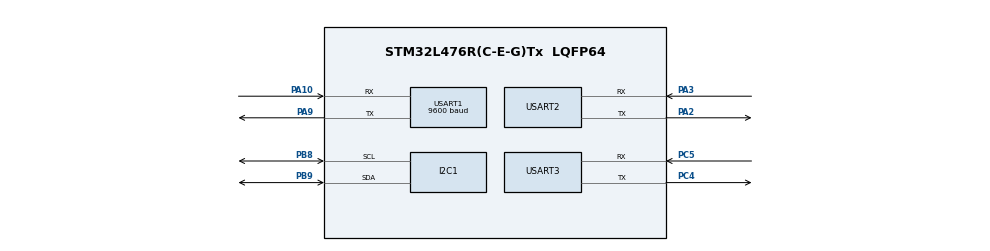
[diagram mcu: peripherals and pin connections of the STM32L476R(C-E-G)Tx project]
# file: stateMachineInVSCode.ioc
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FREERTOS.Mutexes01=uartMutex,Dynamic,NULL,Available
FREERTOS.Queues01=eventQueue,16,Event_t,0,Dynamic,NULL,NULL;transmitQueue,4,Telemetry_t*,0,Dynamic,NULL,NULL
FREERTOS.Tasks01=mainTask,24,128,StartMainTask,Default,NULL,Dynamic,NULL,NULL;housekeepTask,8,128,StartHousekeepTask,Default,NULL,Dynamic,NULL,NULL;transmitTask,8,128,StartTransmitTask,Default,NULL,Dynamic,NULL,NULL;receiveTask,8,128,StartReceiveTask,Default,NULL,Dynamic,NULL,NULL;deployTask,8,128,StartDeployTask,Default,NULL,Dynamic,NULL,NULL;detumblingTask,8,128,StartDetumblingTask,Default,NULL,Dynamic,NULL,NULL;missionTask,8,128,StartMissionTask,Default,NULL,Dynamic,NULL,NULL
FREERTOS.Timers01=HkTickTimer,vHkTickCallback,osTimerPeriodic,Default,NULL,Dynamic,NULL
FREERTOS.configTOTAL_HEAP_SIZE=8192
FREERTOS.configUSE_NEWLIB_REENTRANT=1
I2C1.Timing=0x00100D14
Mcu.Family=STM32L4
Mcu.Name=STM32L476R(C-E-G)Tx
Mcu.Package=LQFP64
NVIC.PriorityGroup=NVIC_PRIORITYGROUP_4
NVIC.TIM6_DAC_IRQn=true\:15\:0\:false\:false\:true\:false\:false\:true\:true
NVIC.TimeBase=TIM6_DAC_IRQn
NVIC.TimeBaseIP=TIM6
NVIC.USART1_IRQn=true\:5\:0\:false\:false\:true\:true\:true\:true\:true
PA10.Mode=Asynchronous
PA10.Signal=USART1_RX
PA13\ (JTMS-SWDIO).Mode=Serial_Wire
PA13\ (JTMS-SWDIO).Signal=SYS_JTMS-SWDIO
PA14\ (JTCK-SWCLK).Mode=Serial_Wire
PA14\ (JTCK-SWCLK).Signal=SYS_JTCK-SWCLK
PA2.Mode=Asynchronous
PA2.Signal=USART2_TX
PA3.Mode=Asynchronous
PA3.Signal=USART2_RX
PA9.Mode=Asynchronous
PA9.Signal=USART1_TX
PB8.Mode=I2C
PB8.Signal=I2C1_SCL
PB9.Mode=I2C
PB9.Signal=I2C1_SDA
PC4.Mode=Asynchronous
PC4.Signal=USART3_TX
PC5.Mode=Asynchronous
PC5.Signal=USART3_RX
ProjectManager.HeapSize=0x200
ProjectManager.StackSize=0x400
ProjectManager.TargetToolchain=CMake
RCC.HSE_VALUE=8000000
RCC.HSI_VALUE=16000000
RCC.LSE_VALUE=32768
RCC.MSI_VALUE=4000000
RCC.VCOOutputFreq_Value=32000000
USART1.BaudRate=9600
USART1.VirtualMode-Asynchronous=VM_ASYNC
USART2.VirtualMode-Asynchronous=VM_ASYNC
USART3.VirtualMode-Asynchronous=VM_ASYNC
VP_FREERTOS_VS_CMSIS_V2.Mode=CMSIS_V2
VP_SYS_VS_tim6.Mode=TIM6
board=custom

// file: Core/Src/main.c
/* USER CODE BEGIN Header */
/**
  ******************************************************************************
  * @file           : main.c
  * @brief          : Main program body
  ******************************************************************************
  * @attention
  *
  * Copyright (c) 2026 STMicroelectronics.
  * All rights reserved.
  *
  * This software is licensed under terms that can be found in the LICENSE file
  * in the root directory of this software component.
  * If no LICENSE file comes with this software, it is provided AS-IS.
  *
  ******************************************************************************
  */
/* USER CODE END Header */
#include "main.h"
#include "cmsis_os.h"

/* USER CODE BEGIN Includes */
#include <stdio.h>
#include <stdarg.h>
#include <stdbool.h>
#include "customTypes.h"
#include "BME280.h"
#include "DS3231.h"
#include "FreeRTOSConfig.h"

/* USER CODE END Includes */

/* USER CODE BEGIN PD */
#define USART1_RX_FLAG       (1U << 0)
#define USART1_ERROR_FLAG    (1U << 1)
#define TASK_START_FLAG      (1U << 0)
#define TASK_STOP_FLAG       (1U << 1)

#define TC_ON_USART2         0
#define ENABLE_DEBUG_UART2   1
/* USER CODE END PD */

I2C_HandleTypeDef hi2c1;

UART_HandleTypeDef huart1;
UART_HandleTypeDef huart2;
UART_HandleTypeDef huart3;

/* Definitions for mainTask */
osThreadId_t mainTaskHandle;
const osThreadAttr_t mainTask_attributes = {
  .name = "mainTask",
  .stack_size = 128 * 4,
  .priority = (osPriority_t) osPriorityNormal,
};
/* Definitions for housekeepTask */
osThreadId_t housekeepTaskHandle;
const osThreadAttr_t housekeepTask_attributes = {
  .name = "housekeepTask",
  .stack_size = 128 * 4,
  .priority = (osPriority_t) osPriorityLow,
};
/* Definitions for transmitTask */
osThreadId_t transmitTaskHandle;
const osThreadAttr_t transmitTask_attributes = {
  .name = "transmitTask",
  .stack_size = 128 * 4,
  .priority = (osPriority_t) osPriorityLow,
};
/* Definitions for receiveTask */
osThreadId_t receiveTaskHandle;
const osThreadAttr_t receiveTask_attributes = {
  .name = "receiveTask",
  .stack_size = 128 * 4,
  .priority = (osPriority_t) osPriorityLow,
};
/* Definitions for deployTask */
osThreadId_t deployTaskHandle;
const osThreadAttr_t deployTask_attributes = {
  .name = "deployTask",
  .stack_size = 128 * 4,
  .priority = (osPriority_t) osPriorityLow,
};
/* Definitions for detumblingTask */
osThreadId_t detumblingTaskHandle;
const osThreadAttr_t detumblingTask_attributes = {
  .name = "detumblingTask",
  .stack_size = 128 * 4,
  .priority = (osPriority_t) osPriorityLow,
};
/* Definitions for missionTask */
osThreadId_t missionTaskHandle;
const osThreadAttr_t missionTask_attributes = {
  .name = "missionTask",
  .stack_size = 128 * 4,
  .priority = (osPriority_t) osPriorityLow,
};
/* Definitions for eventQueue */
osMessageQueueId_t eventQueueHandle;
const osMessageQueueAttr_t eventQueue_attributes = {
  .name = "eventQueue"
};
/* Definitions for transmitQueue */
osMessageQueueId_t transmitQueueHandle;
const osMessageQueueAttr_t transmitQueue_attributes = {
  .name = "transmitQueue"
};
/* Definitions for HkTickTimer */
osTimerId_t HkTickTimerHandle;
const osTimerAttr_t HkTickTimer_attributes = {
  .name = "HkTickTimer"
};
/* Definitions for uartMutex */
osMutexId_t uartMutexHandle;
const osMutexAttr_t uartMutex_attributes = {
  .name = "uartMutex"
};
/* USER CODE BEGIN PV */
static uint8_t usart1RxBuffer;
static volatile uint32_t usart1LastError;
static volatile uint32_t usart1ErrorCount;
static volatile bool usart1RestartRequired;
static volatile bool antennaDeployed;
#if TC_ON_USART2
static uint8_t usart2RxBuffer;
static volatile uint8_t pendingTelecommand;
#endif
/* USER CODE END PV */

void SystemClock_Config(void);
static void MX_GPIO_Init(void);
static void MX_USART2_UART_Init(void);
static void MX_I2C1_Init(void);
static void MX_USART1_UART_Init(void);
static void MX_USART3_UART_Init(void);
void StartMainTask(void *argument);
void StartHousekeepTask(void *argument);
void StartTransmitTask(void *argument);
void StartReceiveTask(void *argument);
void StartDeployTask(void *argument);
void StartDetumblingTask(void *argument);
void StartMissionTask(void *argument);
void vHkTickCallback(void *argument);

/* USER CODE BEGIN PFP */
static void debugPrintf(const char *format, ...);
static void handleTelecommand(uint8_t tc, SatMode_t *mode,
		bool *deployInProgress, volatile bool *deployCompleted,
		bool *missionActive);
/* USER CODE END PFP */

/* USER CODE BEGIN 0 */
int __io_putchar(int ch) {
	HAL_UART_Transmit(&huart2, (uint8_t*) &ch, 1, 10);
	return ch;
}

static void debugPrintf(const char *format, ...)
{
#if ENABLE_DEBUG_UART2
	va_list args;
	va_start(args, format);
	vprintf(format, args);
	va_end(args);
#else
	(void)format;
#endif
}

static void handleTelecommand(uint8_t tc, SatMode_t *mode,
		bool *deployInProgress, volatile bool *deployCompleted,
		bool *missionActive)
{
	if ((uint8_t)(tc & ~((uint8_t)TC_VALID_MASK)) != 0U) {
		debugPrintf("[%08lu] rx rejected: invalid mask 0x%02X\r\n",
				osKernelGetTickCount(), tc);
		return;
	}

	// Bloqueia qualquer troca de modo enquanto o deploy estiver fisicamente em curso
	if (*deployInProgress) {
		debugPrintf("[%08lu] rx ignored: deploy in progress (tc=0x%02X)\r\n",
				osKernelGetTickCount(), tc);
		return;
	}

	// 1. Prioridade máxima: Deploy (bit 1 - 0x02)
	if (((tc & TC_BIT_DEPLOY) != 0U) && !(*deployCompleted)) {
		*deployInProgress = true;
		osThreadFlagsSet(deployTaskHandle, TASK_START_FLAG);
		debugPrintf("[%08lu] rx accepted: deploy\r\n",
				osKernelGetTickCount());
		return;
	}

	// 2. Detumbling (bit 2 - 0x04) - Prioridade sobre Pointing
	if ((tc & TC_BIT_DETUMBLING) != 0U) {
		if (*mode != SAT_MODE_DETUMBLING) {
			*mode = SAT_MODE_DETUMBLING;
			osThreadFlagsSet(detumblingTaskHandle, TASK_START_FLAG);
			debugPrintf("[%08lu] rx accepted: detumbling ON\r\n",
					osKernelGetTickCount());
		}
	} else if (*mode == SAT_MODE_DETUMBLING) {
		*mode = SAT_MODE_IDLE;
		osThreadFlagsSet(detumblingTaskHandle, TASK_STOP_FLAG);
		debugPrintf("[%08lu] rx accepted: detumbling STOP\r\n",
				osKernelGetTickCount());
	}

	// 3. Pointing (bit 3 - 0x08) - Só opera se Detumbling estiver inativo
	if (((tc & TC_BIT_POINTING) != 0U) && ((tc & TC_BIT_DETUMBLING) == 0U)) {
		if (*mode != SAT_MODE_POINTING) {
			*mode = SAT_MODE_POINTING;
			debugPrintf("[%08lu] rx accepted: pointing ON\r\n",
					osKernelGetTickCount());
		}
	} else if (*mode == SAT_MODE_POINTING) {
		*mode = SAT_MODE_IDLE;
		debugPrintf("[%08lu] rx accepted: pointing STOP\r\n",
				osKernelGetTickCount());
	}

	// 4. Mission / Carga Útil (bit 0 - 0x01)
	if ((tc & TC_BIT_MISSION) != 0U) {
		if (!(*missionActive)) {
			*missionActive = true;
			if (*mode == SAT_MODE_IDLE) {
				*mode = SAT_MODE_MISSION;
			}
			osThreadFlagsSet(missionTaskHandle, TASK_START_FLAG);
			debugPrintf("[%08lu] rx accepted: mission ON\r\n",
					osKernelGetTickCount());
		}
	} else if (*missionActive) {
		*missionActive = false;
		osThreadFlagsSet(missionTaskHandle, TASK_STOP_FLAG);
		if (*mode == SAT_MODE_MISSION) {
			*mode = SAT_MODE_IDLE;
		}
		debugPrintf("[%08lu] rx accepted: mission OFF\r\n",
				osKernelGetTickCount());
	}
}
/* USER CODE END 0 */

int main(void)
{

  /* MCU Configuration--------------------------------------------------------*/

  /* Reset of all peripherals, Initializes the Flash interface and the Systick. */
  HAL_Init();

  /* Configure the system clock */
  SystemClock_Config();

  /* Initialize all configured peripherals */
  MX_GPIO_Init();
  MX_USART2_UART_Init();
  MX_I2C1_Init();
  MX_USART1_UART_Init();
  MX_USART3_UART_Init();

  /* Init scheduler */
  osKernelInitialize();
  /* Create the mutex(es) */
  /* creation of uartMutex */
  uartMutexHandle = osMutexNew(&uartMutex_attributes);

  /* Create the timer(s) */
  /* creation of HkTickTimer */
  HkTickTimerHandle = osTimerNew(vHkTickCallback, osTimerPeriodic, NULL, &HkTickTimer_attributes);

  /* Create the queue(s) */
  /* creation of eventQueue */
  eventQueueHandle = osMessageQueueNew (16, sizeof(Event_t), &eventQueue_attributes);

  /* creation of transmitQueue */
  transmitQueueHandle = osMessageQueueNew (4, sizeof(Telemetry_t*), &transmitQueue_attributes);

  /* Create the thread(s) */
  /* creation of mainTask */
  mainTaskHandle = osThreadNew(StartMainTask, NULL, &mainTask_attributes);

  /* creation of housekeepTask */
  housekeepTaskHandle = osThreadNew(StartHousekeepTask, NULL, &housekeepTask_attributes);

  /* creation of transmitTask */
  transmitTaskHandle = osThreadNew(StartTransmitTask, NULL, &transmitTask_attributes);

  /* creation of receiveTask */
  receiveTaskHandle = osThreadNew(StartReceiveTask, NULL, &receiveTask_attributes);

  /* creation of deployTask */
  deployTaskHandle = osThreadNew(StartDeployTask, NULL, &deployTask_attributes);

  /* creation of detumblingTask */
  detumblingTaskHandle = osThreadNew(StartDetumblingTask, NULL, &detumblingTask_attributes);

  /* creation of missionTask */
  missionTaskHandle = osThreadNew(StartMissionTask, NULL, &missionTask_attributes);

  /* Start scheduler */
  osKernelStart();

  /* We should never get here as control is now taken by the scheduler */

  /* Infinite loop */
  while (1)
  {

  }
}

void SystemClock_Config(void)
{
  RCC_OscInitTypeDef RCC_OscInitStruct = {0};
  RCC_ClkInitTypeDef RCC_ClkInitStruct = {0};

  /** Configure the main internal regulator output voltage
  */
  if (HAL_PWREx_ControlVoltageScaling(PWR_REGULATOR_VOLTAGE_SCALE1) != HAL_OK)
  {
    Error_Handler();
  }

  /** Initializes the RCC Oscillators according to the specified parameters
  * in the RCC_OscInitTypeDef structure.
  */
  RCC_OscInitStruct.OscillatorType = RCC_OSCILLATORTYPE_MSI;
  RCC_OscInitStruct.MSIState = RCC_MSI_ON;
  RCC_OscInitStruct.MSICalibrationValue = 0;
  RCC_OscInitStruct.MSIClockRange = RCC_MSIRANGE_6;
  RCC_OscInitStruct.PLL.PLLState = RCC_PLL_NONE;
  if (HAL_RCC_OscConfig(&RCC_OscInitStruct) != HAL_OK)
  {
    Error_Handler();
  }

  /** Initializes the CPU, AHB and APB buses clocks
  */
  RCC_ClkInitStruct.ClockType = RCC_CLOCKTYPE_HCLK|RCC_CLOCKTYPE_SYSCLK
                              |RCC_CLOCKTYPE_PCLK1|RCC_CLOCKTYPE_PCLK2;
  RCC_ClkInitStruct.SYSCLKSource = RCC_SYSCLKSOURCE_MSI;
  RCC_ClkInitStruct.AHBCLKDivider = RCC_SYSCLK_DIV1;
  RCC_ClkInitStruct.APB1CLKDivider = RCC_HCLK_DIV1;
  RCC_ClkInitStruct.APB2CLKDivider = RCC_HCLK_DIV1;

  if (HAL_RCC_ClockConfig(&RCC_ClkInitStruct, FLASH_LATENCY_0) != HAL_OK)
  {
    Error_Handler();
  }
}

static void MX_I2C1_Init(void)
{

  hi2c1.Instance = I2C1;
  hi2c1.Init.Timing = 0x00100D14;
  hi2c1.Init.OwnAddress1 = 0;
  hi2c1.Init.AddressingMode = I2C_ADDRESSINGMODE_7BIT;
  hi2c1.Init.DualAddressMode = I2C_DUALADDRESS_DISABLE;
  hi2c1.Init.OwnAddress2 = 0;
  hi2c1.Init.OwnAddress2Masks = I2C_OA2_NOMASK;
  hi2c1.Init.GeneralCallMode = I2C_GENERALCALL_DISABLE;
  hi2c1.Init.NoStretchMode = I2C_NOSTRETCH_DISABLE;
  if (HAL_I2C_Init(&hi2c1) != HAL_OK)
  {
    Error_Handler();
  }

  /** Configure Analogue filter
  */
  if (HAL_I2CEx_ConfigAnalogFilter(&hi2c1, I2C_ANALOGFILTER_ENABLE) != HAL_OK)
  {
    Error_Handler();
  }

  /** Configure Digital filter
  */
  if (HAL_I2CEx_ConfigDigitalFilter(&hi2c1, 0) != HAL_OK)
  {
    Error_Handler();
  }

}

static void MX_USART1_UART_Init(void)
{

  huart1.Instance = USART1;
  huart1.Init.BaudRate = 9600;
  huart1.Init.WordLength = UART_WORDLENGTH_8B;
  huart1.Init.StopBits = UART_STOPBITS_1;
  huart1.Init.Parity = UART_PARITY_NONE;
  huart1.Init.Mode = UART_MODE_TX_RX;
  huart1.Init.HwFlowCtl = UART_HWCONTROL_NONE;
  huart1.Init.OverSampling = UART_OVERSAMPLING_16;
  huart1.Init.OneBitSampling = UART_ONE_BIT_SAMPLE_DISABLE;
  huart1.AdvancedInit.AdvFeatureInit = UART_ADVFEATURE_NO_INIT;
  if (HAL_UART_Init(&huart1) != HAL_OK)
  {
    Error_Handler();
  }

}

static void MX_USART2_UART_Init(void)
{

  huart2.Instance = USART2;
  huart2.Init.BaudRate = 115200;
  huart2.Init.WordLength = UART_WORDLENGTH_8B;
  huart2.Init.StopBits = UART_STOPBITS_1;
  huart2.Init.Parity = UART_PARITY_NONE;
  huart2.Init.Mode = UART_MODE_TX_RX;
  huart2.Init.HwFlowCtl = UART_HWCONTROL_NONE;
  huart2.Init.OverSampling = UART_OVERSAMPLING_16;
  huart2.Init.OneBitSampling = UART_ONE_BIT_SAMPLE_DISABLE;
  huart2.AdvancedInit.AdvFeatureInit = UART_ADVFEATURE_NO_INIT;
  if (HAL_UART_Init(&huart2) != HAL_OK)
  {
    Error_Handler();
  }

}

static void MX_USART3_UART_Init(void)
{

  huart3.Instance = USART3;
  huart3.Init.BaudRate = 115200;
  huart3.Init.WordLength = UART_WORDLENGTH_8B;
  huart3.Init.StopBits = UART_STOPBITS_1;
  huart3.Init.Parity = UART_PARITY_NONE;
  huart3.Init.Mode = UART_MODE_TX_RX;
  huart3.Init.HwFlowCtl = UART_HWCONTROL_NONE;
  huart3.Init.OverSampling = UART_OVERSAMPLING_16;
  huart3.Init.OneBitSampling = UART_ONE_BIT_SAMPLE_DISABLE;
  huart3.AdvancedInit.AdvFeatureInit = UART_ADVFEATURE_NO_INIT;
  if (HAL_UART_Init(&huart3) != HAL_OK)
  {
    Error_Handler();
  }

}

static void MX_GPIO_Init(void)
{

  /* GPIO Ports Clock Enable */
  __HAL_RCC_GPIOA_CLK_ENABLE();
  __HAL_RCC_GPIOC_CLK_ENABLE();
  __HAL_RCC_GPIOB_CLK_ENABLE();

}

/* USER CODE BEGIN 4 */

void initializeEverything(BME280_HandleTypeDef *BMEBat) {
	Set_Time(0, 0, 0, 0, 0, 0, 0);
	BME280_initDefault(BMEBat, hi2c1);
	BME280_setOversampling(BMEBat, BME280_OS_16x, PSSR); // talvez devesse ser ALL aqui ao invés de PSSR
}

void HAL_UART_RxCpltCallback(UART_HandleTypeDef *huart)
{
    if (huart->Instance == USART1)
    {
        Event_t evt = {
            .type = EVT_RX_DONE,
            .timestamp = osKernelGetTickCount(),
            .data.telecommand = usart1RxBuffer
        };
        (void)osMessageQueuePut(eventQueueHandle, &evt, 0U, 0U);

        if (HAL_UART_Receive_IT(&huart1, &usart1RxBuffer, 1U) != HAL_OK)
        {
            usart1LastError = HAL_UART_GetError(&huart1);
            usart1ErrorCount++;
            usart1RestartRequired = true;
            (void)osThreadFlagsSet(receiveTaskHandle, USART1_ERROR_FLAG);
        }
    }
#if TC_ON_USART2
    else if (huart->Instance == USART2)
    {
        /* Same path as a USART1 telecommand. Both IRQs share priority 5,
         * so they never preempt each other on pendingTelecommand. */
        pendingTelecommand = usart2RxBuffer;
        (void)HAL_UART_Receive_IT(&huart2, &usart2RxBuffer, 1U);
        (void)osThreadFlagsSet(receiveTaskHandle, USART1_RX_FLAG);
    }
#endif
}

void HAL_UART_ErrorCallback(UART_HandleTypeDef *huart)
{
    if (huart->Instance == USART1)
    {
        usart1LastError = HAL_UART_GetError(huart);
        usart1ErrorCount++;

        if (huart->RxState == HAL_UART_STATE_READY)
        {
            usart1RestartRequired =
                    (HAL_UART_Receive_IT(&huart1, &usart1RxBuffer, 1U)
                            != HAL_OK);
        }
        else
        {
            usart1RestartRequired = false;
        }

        (void)osThreadFlagsSet(receiveTaskHandle, USART1_ERROR_FLAG);
    }
#if TC_ON_USART2
    else if (huart->Instance == USART2)
    {
        /* Overrun aborts the reception (RxState back to READY); framing and
         * noise errors keep it running. */
        if (huart->RxState == HAL_UART_STATE_READY)
        {
            (void)HAL_UART_Receive_IT(&huart2, &usart2RxBuffer, 1U);
        }
    }
#endif
}
/* USER CODE END 4 */

void StartMainTask(void *argument)
{
  /* USER CODE BEGIN 5 */
	Event_t evt;
	SatMode_t mode = SAT_MODE_IDLE;
	bool deployInProgress = false;
	bool missionActive = false;

	osTimerStart(HkTickTimerHandle, pdMS_TO_TICKS(60000));
	debugPrintf("[%08lu] main ready, mode=%u\r\n",
			osKernelGetTickCount(), (unsigned int)mode);

	/* Infinite loop */
	for(;;)
	{
		if (osMessageQueueGet(eventQueueHandle, &evt, NULL,
				osWaitForever) != osOK) {
			continue;
		}

		switch (evt.type) {
		case EVT_HK_DONE: {
			Telemetry_t *packet = evt.data.telemetry;

			if (osMessageQueuePut(transmitQueueHandle, &packet, 0U,
					osWaitForever) != osOK) {
				debugPrintf("[%08lu] tx queue error\r\n",
						osKernelGetTickCount());
			}
			break;
		}

		case EVT_RX_DONE:
			handleTelecommand(evt.data.telecommand, &mode,
					&deployInProgress, &antennaDeployed, &missionActive);
			break;

		case EVT_TX_DONE:
			debugPrintf("[%08lu] tx done\r\n", evt.timestamp);
			break;

		case EVT_MISSION_DONE:
			missionActive = false;
			if (mode == SAT_MODE_MISSION) {
				mode = SAT_MODE_IDLE;
				debugPrintf("[%08lu] mission done, mode=%u\r\n",
						evt.timestamp, (unsigned int)mode);
			}
			break;

		case EVT_DETUMBLING_DONE:
			if (mode == SAT_MODE_DETUMBLING) {
				mode = SAT_MODE_IDLE;
				debugPrintf("[%08lu] detumbling done, mode=%u\r\n",
						evt.timestamp, (unsigned int)mode);
			}
			break;

		case EVT_DEPLOY_DONE:
			if (deployInProgress) {
				deployInProgress = false;
				antennaDeployed = true;
				debugPrintf("[%08lu] deploy done\r\n", evt.timestamp);
			}
			break;

		case EVT_POINTING_DONE:
			if (mode == SAT_MODE_POINTING) {
				mode = SAT_MODE_IDLE;
				debugPrintf("[%08lu] pointing done, mode=%u\r\n",
						evt.timestamp, (unsigned int)mode);
			}
			break;

		default:
			debugPrintf("[%08lu] unknown event=%u\r\n",
					evt.timestamp, (unsigned int)evt.type);
			break;
		}
	}
  /* USER CODE END 5 */
}

void StartHousekeepTask(void *argument)
{
  /* USER CODE BEGIN StartHousekeepTask */
	static Telemetry_t telemetryPacket = {0};
	static BME280_HandleTypeDef BMEBat;
	initializeEverything(&BMEBat);
  /* Infinite loop */
  for(;;)
  {
	  osThreadFlagsWait(TASK_START_FLAG, osFlagsWaitAny, osWaitForever);
	  BME280_readSingleShot(&BMEBat);

	  telemetryPacket.temperatura_bateria = telemetryPacket.temperatura_estrutura = BMEBat.READ.TEMP;
	  telemetryPacket.umidade = BMEBat.READ.HMDT;
	  telemetryPacket.pressao = BMEBat.READ.PSSR;
	  Get_Time(&telemetryPacket.segundo, &telemetryPacket.minuto, &telemetryPacket.hora, &telemetryPacket.dia, NULL, &telemetryPacket.mes, &telemetryPacket.ano);
	  telemetryPacket.deploy_antena = antennaDeployed ? 1U : 0U;

	  Event_t evt = {
		  .type = EVT_HK_DONE,
		  .timestamp = osKernelGetTickCount(),
		  .data.telemetry = &telemetryPacket
	  };
	  osMessageQueuePut(eventQueueHandle, &evt, 0U, osWaitForever);
  }
  /* USER CODE END StartHousekeepTask */
}

void StartTransmitTask(void *argument)
{
  /* USER CODE BEGIN StartTransmitTask */
	Telemetry_t* telemetryPacket;
  /* Infinite loop */
  for(;;)
  {
	  osMessageQueueGet(transmitQueueHandle, &telemetryPacket, NULL, osWaitForever);

	  osMutexAcquire(uartMutexHandle, osWaitForever);
	  uint8_t marker = 'T';
	  HAL_UART_Transmit(&huart1, &marker, 1, 100);
	  HAL_UART_Transmit(&huart1, (uint8_t*) telemetryPacket, sizeof(Telemetry_t), 1000);
	  osMutexRelease(uartMutexHandle);

	  Event_t evt = {
		  .type = EVT_TX_DONE,
		  .timestamp = osKernelGetTickCount()
	  };
	  osMessageQueuePut(eventQueueHandle, &evt, 0U, osWaitForever);
  }
  /* USER CODE END StartTransmitTask */
}

void StartReceiveTask(void *argument)
{
  /* USER CODE BEGIN StartReceiveTask */
    uint32_t flags;

    if (HAL_UART_Receive_IT(&huart1, &usart1RxBuffer, 1U) != HAL_OK)
    {
        Error_Handler();
    }

#if TC_ON_USART2
    __HAL_UART_CLEAR_FLAG(&huart2, UART_CLEAR_PEF | UART_CLEAR_FEF
            | UART_CLEAR_NEF | UART_CLEAR_OREF);
    __HAL_UART_SEND_REQ(&huart2, UART_RXDATA_FLUSH_REQUEST);

    if (HAL_UART_Receive_IT(&huart2, &usart2RxBuffer, 1U) != HAL_OK)
    {
        Error_Handler();
    }

    debugPrintf("[%08lu] telecommands also accepted on USART2 (TC_ON_USART2)\r\n",
            osKernelGetTickCount());
#endif

    for (;;)
    {
        flags = osThreadFlagsWait(USART1_RX_FLAG | USART1_ERROR_FLAG,
                osFlagsWaitAny, osWaitForever);

        if ((flags & osFlagsError) != 0U)
        {
            continue;
        }

        if ((flags & USART1_ERROR_FLAG) != 0U)
        {
            if (usart1RestartRequired
                    && (huart1.RxState == HAL_UART_STATE_READY))
            {
                usart1RestartRequired =
                        (HAL_UART_Receive_IT(&huart1, &usart1RxBuffer, 1U)
                                != HAL_OK);
            }

            debugPrintf("[%08lu] usart1 error=0x%08lX count=%lu restart=%u\r\n",
                    osKernelGetTickCount(), usart1LastError,
                    usart1ErrorCount, (unsigned int)usart1RestartRequired);
        }

        #if TC_ON_USART2
          if ((flags & USART1_RX_FLAG) != 0U)
          {
              Event_t evt = {
                  .type = EVT_RX_DONE,
                  .timestamp = osKernelGetTickCount(),
                  .data.telecommand = pendingTelecommand
              };

              osMessageQueuePut(eventQueueHandle, &evt, 0U, osWaitForever);
          }
        #endif
    }
  /* USER CODE END StartReceiveTask */
}

void StartDeployTask(void *argument)
{
  /* USER CODE BEGIN StartDeployTask */
  for(;;)
  {
	  osThreadFlagsWait(TASK_START_FLAG, osFlagsWaitAny, osWaitForever);
	  debugPrintf("[%08lu] deploy task ran\r\n", osKernelGetTickCount());
	  Event_t evt = {
		  .type = EVT_DEPLOY_DONE,
		  .timestamp = osKernelGetTickCount()
	  };
	  osMessageQueuePut(eventQueueHandle, &evt, 0U, osWaitForever);
  }
  /* USER CODE END StartDeployTask */
}

void StartDetumblingTask(void *argument)
{
  /* USER CODE BEGIN StartDetumblingTask */
  for(;;)
  {
	  osThreadFlagsWait(TASK_START_FLAG, osFlagsWaitAny, osWaitForever);
	  debugPrintf("[%08lu] detumbling task ran\r\n", osKernelGetTickCount());
	  Event_t evt = {
		  .type = EVT_DETUMBLING_DONE,
		  .timestamp = osKernelGetTickCount()
	  };
	  osMessageQueuePut(eventQueueHandle, &evt, 0U, osWaitForever);
  }
  /* USER CODE END StartDetumblingTask */
}

void StartMissionTask(void *argument)
{
  /* USER CODE BEGIN StartMissionTask */
  for(;;)
  {
	  osThreadFlagsWait(TASK_START_FLAG, osFlagsWaitAny, osWaitForever);
	  debugPrintf("[%08lu] mission task ran\r\n", osKernelGetTickCount());
	  Event_t evt = {
		  .type = EVT_MISSION_DONE,
		  .timestamp = osKernelGetTickCount()
	  };
	  osMessageQueuePut(eventQueueHandle, &evt, 0U, osWaitForever);
  }
  /* USER CODE END StartMissionTask */
}

/* vHkTickCallback function */
void vHkTickCallback(void *argument)
{
  /* USER CODE BEGIN vHkTickCallback */
	osThreadFlagsSet(housekeepTaskHandle, TASK_START_FLAG);
  /* USER CODE END vHkTickCallback */
}

void HAL_TIM_PeriodElapsedCallback(TIM_HandleTypeDef *htim)
{
  if (htim->Instance == TIM6)
  {
    HAL_IncTick();
  }
}

void Error_Handler(void)
{
  __disable_irq();
  while (1)
  {
  }
}
